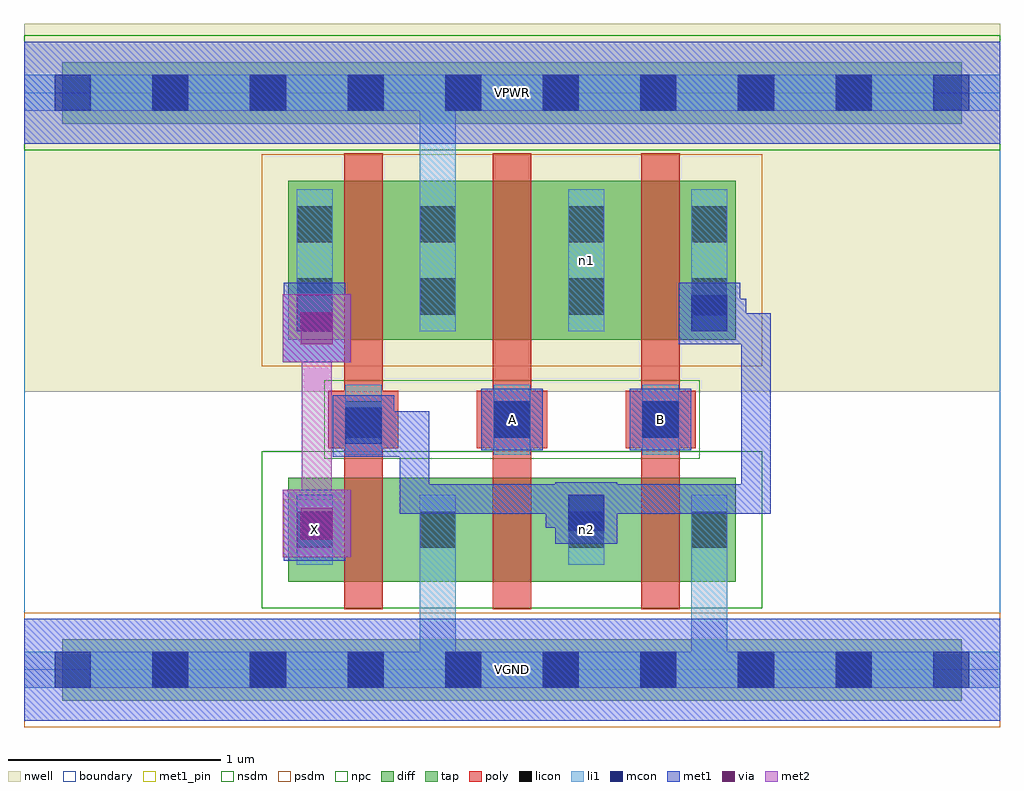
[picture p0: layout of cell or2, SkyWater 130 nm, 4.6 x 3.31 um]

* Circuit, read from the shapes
.subckt or2 A B VGND VPWR X n1 n2
XM1 VGND n2 X VGND sky130_fd_pr__nfet_01v8 w=0.49 l=0.18
XM2 n2 A VGND VGND sky130_fd_pr__nfet_01v8 w=0.49 l=0.18
XM3 VGND B n2 VGND sky130_fd_pr__nfet_01v8 w=0.49 l=0.18
XM4 VPWR n2 X VPWR sky130_fd_pr__pfet_01v8 w=0.75 l=0.18
XM5 n1 A VPWR VPWR sky130_fd_pr__pfet_01v8 w=0.75 l=0.18
XM6 n2 B n1 VPWR sky130_fd_pr__pfet_01v8 w=0.75 l=0.18
.ends

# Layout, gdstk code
import gdstk
lib = gdstk.Library(unit=1e-6, precision=1e-09)
def R(c, l, rs):  # rectangles x0, y0, x1, y1
    for r in rs: c.add(gdstk.rectangle(r[:2], r[2:], *l))
def A(c, l, x, y, w, h, nx, ny, dx, dy):  # array of equal rectangles
    R(c, l, [(x+i*dx, y+j*dy, x+i*dx+w, y+j*dy+h) for i in range(nx) for j in range(ny)])
nwell = (64, 20)
diff = (65, 20)
tap = (65, 44)
poly = (66, 20)
licon = (66, 44)
li1 = (67, 20)
mcon = (67, 44)
met1_pin = (68, 16)
met1 = (68, 20)
via = (68, 44)
met2 = (69, 20)
nsdm = (93, 44)
psdm = (94, 20)
npc = (95, 20)
boundary = (235, 4)

or2 = lib.new_cell('or2')
R(or2, nwell, [(0,1.31,4.6,3.045)])
R(or2, diff, [(1.245,0.415,3.355,0.905), (1.245,1.555,3.355,2.305)])
R(or2, tap, [(0.18,-0.145,4.42,0.145), (0.18,2.575,4.42,2.865)])
A(or2, poly, 1.51, 0.285, 0.18, 2.15, 3, 1, 0.7, 0)
A(or2, poly, 1.435, 1.045, 0.33, 0.27, 3, 1, 0.7, 0)
A(or2, licon, 0.605, -0.085, 0.17, 0.17, 8, 2, 0.46, 2.72)
A(or2, licon, 1.515, 1.095, 0.17, 0.17, 3, 1, 0.7, 0)
R(or2, licon, [(1.285,0.575,1.455,0.745), (1.865,0.575,2.035,0.745), (2.565,0.575,2.735,0.745), (3.145,0.575,3.315,0.745), (1.285,1.675,1.455,1.845), (1.865,1.675,2.035,1.845), (2.565,1.675,2.735,1.845), (3.145,1.675,3.315,1.845), (1.285,2.015,1.455,2.185), (1.865,2.015,2.035,2.185), (2.565,2.015,2.735,2.185), (3.145,2.015,3.315,2.185)])
A(or2, li1, 1.515, 1.015, 0.17, 0.33, 3, 1, 0.7, 0)
R(or2, li1, [(0,-0.085,4.6,0.085), (1.865,-0.085,2.035,0.825), (3.145,-0.085,3.315,0.825), (1.285,0.495,1.455,0.825), (1.865,0.495,2.035,0.825), (2.565,0.495,2.735,0.825), (3.145,0.495,3.315,0.825), (1.285,1.595,1.455,2.265), (1.865,1.595,2.035,2.265), (1.865,1.595,2.035,2.805), (2.565,1.595,2.735,2.265), (3.145,1.595,3.315,2.265), (0,2.635,4.6,2.805)])
A(or2, mcon, 0.145, -0.085, 0.17, 0.17, 10, 2, 0.46, 2.72)
R(or2, mcon, [(1.285,0.575,1.455,0.745), (2.565,0.655,2.735,0.825), (1.515,1.065,1.685,1.235), (2.215,1.095,2.385,1.265), (2.915,1.095,3.085,1.265), (1.285,1.595,1.455,1.765), (3.145,1.595,3.315,1.765)])
R(or2, met1_pin, [(0,-0.24,4.6,0.24), (1.225,0.515,1.515,0.805), (2.155,1.035,2.445,1.325), (2.855,1.035,3.145,1.325), (0,2.48,4.6,2.96)])
R(or2, met1, [(0,-0.24,4.6,0.24), (1.225,0.515,1.515,0.805), (1.22,0.53,1.54,0.85), (2.505,0.595,2.795,0.885), (1.31,0.62,1.45,0.76), (2.46,0.67,2.72,0.81), (2.46,0.67,2.6,0.875), (1.77,0.735,1.91,1.22), (1.77,0.735,2.6,0.875), (2.46,0.735,3.52,0.875), (3.38,0.735,3.52,1.68), (1.455,1.005,1.745,1.295), (1.745,1.005,1.77,1.22), (2.155,1.035,2.445,1.325), (2.855,1.035,3.145,1.325), (1.53,1.08,1.795,1.22), (1.655,1.08,1.91,1.22), (1.22,1.45,1.54,1.77), (1.225,1.535,1.515,1.825), (3.085,1.535,3.375,1.825), (3.375,1.535,3.38,1.68), (1.31,1.54,1.45,1.75), (3.265,1.54,3.405,1.75), (3.265,1.54,3.52,1.68), (1.3,1.61,1.45,1.75), (3.16,1.61,3.405,1.75), (0,2.48,4.6,2.96)])
R(or2, via, [(1.305,0.615,1.455,0.765), (1.305,1.535,1.455,1.685)])
R(or2, met2, [(1.22,0.53,1.54,0.85), (1.31,0.62,1.45,1.68), (1.22,1.45,1.54,1.77)])
R(or2, nsdm, [(1.12,0.29,3.48,1.03), (0,2.45,4.6,2.99)])
R(or2, psdm, [(0,-0.27,4.6,0.27), (1.12,1.43,3.48,2.43)])
R(or2, npc, [(1.415,0.995,3.185,1.365)])
R(or2, boundary, [(0,0,4.6,2.72)])
or2.add(gdstk.Label('n2', (2.65,0.66), layer=67, texttype=5))
or2.add(gdstk.Label('n1', (2.65,1.93), layer=67, texttype=5))
or2.add(gdstk.Label('A', (2.3,1.18), layer=68, texttype=5))
or2.add(gdstk.Label('B', (3,1.18), layer=68, texttype=5))
or2.add(gdstk.Label('X', (1.37,0.66), layer=68, texttype=5))
or2.add(gdstk.Label('VPWR', (2.3,2.72), layer=68, texttype=5))
or2.add(gdstk.Label('VGND', (2.3,0), layer=68, texttype=5))
or2.add(gdstk.Label('A', (2.3,1.18), layer=68, texttype=16))
or2.add(gdstk.Label('B', (3,1.18), layer=68, texttype=16))
or2.add(gdstk.Label('X', (1.37,0.66), layer=68, texttype=16))
or2.add(gdstk.Label('VPWR', (2.3,2.72), layer=68, texttype=16))
or2.add(gdstk.Label('VGND', (2.3,0), layer=68, texttype=16))

lib.write_gds('or2.gds')
